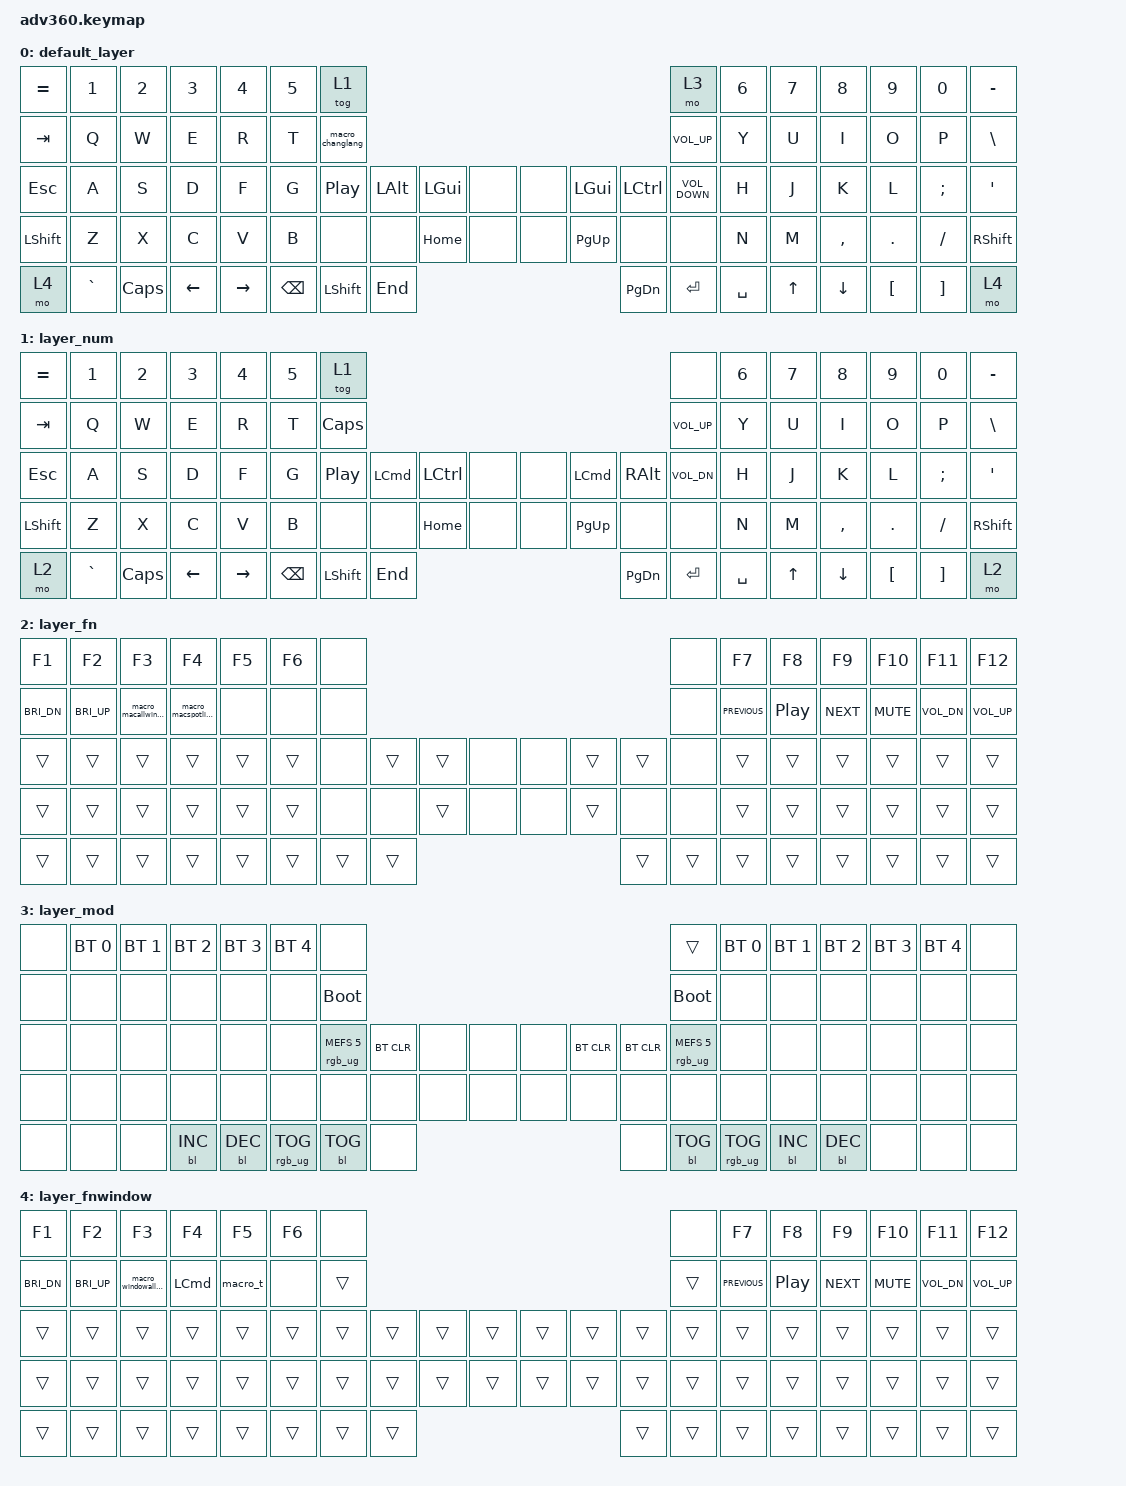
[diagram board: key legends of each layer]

/*
 * Copyright (c) 2020 The ZMK Contributors
 *
 * SPDX-License-Identifier: MIT
 */


/* THIS FILE WAS GENERATED!
 *
 * This file was generated automatically. You may or may not want to
 * edit it directly.
 */

#include <behaviors.dtsi>
#include <dt-bindings/zmk/keys.h>
#include <dt-bindings/zmk/bt.h>
#include <dt-bindings/zmk/rgb.h>
#include <dt-bindings/zmk/backlight.h>

/ {
  behaviors {
    #include "macros.dtsi"
    #include "version.dtsi"

    hm: homerow_mods {
        compatible = "zmk,behavior-hold-tap";
        label = "HOMEROW_MODS";
        #binding-cells = <2>;
        tapping-term-ms = <200>;
        quick_tap_ms = <175>;
        flavor = "tap-preferred";
        bindings = <&kp>, <&kp>;
    };
  };

    keymap {
        compatible = "zmk,keymap";


        default_layer {
            bindings = <
 &kp EQUAL     &kp N1        &kp N2    &kp N3     &kp N4  &kp N5                      &tog 1                                                                                         &mo 3  &kp N6  &kp N7     &kp N8    &kp N9    &kp N0  &kp MINUS
   &kp TAB      &kp Q         &kp W     &kp E      &kp R   &kp T            &macro_changlang                                                                                  &kp C_VOL_UP   &kp Y   &kp U      &kp I     &kp O     &kp P   &kp BSLH
   &kp ESC      &kp A         &kp S     &kp D      &kp F   &kp G            &kp C_PLAY_PAUSE    &kp LEFT_ALT  &kp LEFT_GUI   &none   &none   &kp LGUI  &kp LEFT_CONTROL  &kp C_VOLUME_DOWN   &kp H   &kp J      &kp K     &kp L  &kp SEMI    &kp SQT
 &kp LSHFT      &kp Z         &kp X     &kp C      &kp V   &kp B                       &none           &none      &kp HOME   &none   &none  &kp PG_UP             &none              &none   &kp N   &kp M  &kp COMMA   &kp DOT  &kp FSLH  &kp RSHFT
     &mo 4  &kp GRAVE  &kp CAPSLOCK  &kp LEFT  &kp RIGHT                            &kp BSPC  &kp LEFT_SHIFT       &kp END                  &kp PG_DN         &kp ENTER          &kp SPACE          &kp UP   &kp DOWN  &kp LBKT  &kp RBKT      &mo 4
            >;
        };

        layer_num {
            bindings = <
 &kp EQUAL     &kp N1    &kp N2    &kp N3     &kp N4  &kp N5                      &tog 1                                                                                              &none  &kp N6  &kp N7     &kp N8    &kp N9    &kp N0  &kp MINUS
   &kp TAB      &kp Q     &kp W     &kp E      &kp R   &kp T                    &kp CAPS                                                                                       &kp C_VOL_UP   &kp Y   &kp U      &kp I     &kp O     &kp P   &kp BSLH
   &kp ESC      &kp A     &kp S     &kp D      &kp F   &kp G            &kp C_PLAY_PAUSE  &kp LEFT_COMMAND  &kp LEFT_CONTROL   &none   &none  &kp LEFT_COMMAND  &kp RIGHT_ALT  &kp C_VOL_DN   &kp H   &kp J      &kp K     &kp L  &kp SEMI    &kp SQT
 &kp LSHFT      &kp Z     &kp X     &kp C      &kp V   &kp B                       &none             &none          &kp HOME   &none   &none         &kp PG_UP          &none         &none   &kp N   &kp M  &kp COMMA   &kp DOT  &kp FSLH  &kp RSHFT
     &mo 2  &kp GRAVE  &kp CAPS  &kp LEFT  &kp RIGHT                            &kp BSPC    &kp LEFT_SHIFT           &kp END                         &kp PG_DN      &kp ENTER     &kp SPACE          &kp UP   &kp DOWN  &kp LBKT  &kp RBKT      &mo 2
            >;
        };

        layer_fn {
            bindings = <
       &kp F1        &kp F2               &kp F3               &kp F4  &kp F5  &kp F6             &none                                                   &none          &kp F7            &kp F8      &kp F9     &kp F10       &kp F11       &kp F12
 &kp C_BRI_DN  &kp C_BRI_UP  &macro_macallwindow  &macro_macspotlight   &none   &none             &none                                                   &none  &kp C_PREVIOUS  &kp C_PLAY_PAUSE  &kp C_NEXT  &kp C_MUTE  &kp C_VOL_DN  &kp C_VOL_UP
       &trans        &trans               &trans               &trans  &trans  &trans             &none  &trans  &trans   &none   &none  &trans  &trans   &none          &trans            &trans      &trans      &trans        &trans        &trans
       &trans        &trans               &trans               &trans  &trans  &trans             &none   &none  &trans   &none   &none  &trans   &none   &none          &trans            &trans      &trans      &trans        &trans        &trans
       &trans        &trans               &trans               &trans  &trans                    &trans  &trans  &trans                  &trans  &trans  &trans                            &trans      &trans      &trans        &trans        &trans
            >;
        };

        layer_mod {
            bindings = <
  &none  &bt BT_SEL 0  &bt BT_SEL 1  &bt BT_SEL 2  &bt BT_SEL 3  &bt BT_SEL 4                             &none                                                                              &trans  &bt BT_SEL 0  &bt BT_SEL 1  &bt BT_SEL 2  &bt BT_SEL 3  &bt BT_SEL 4   &none
  &none         &none         &none         &none         &none         &none                       &bootloader                                                                         &bootloader         &none         &none         &none         &none         &none   &none
  &none         &none         &none         &none         &none         &none            &rgb_ug RGB_MEFS_CMD 5  &bt BT_CLR   &none   &none   &none  &bt BT_CLR  &bt BT_CLR  &rgb_ug RGB_MEFS_CMD 5         &none         &none         &none         &none         &none   &none
  &none         &none         &none         &none         &none         &none                             &none       &none   &none   &none   &none       &none       &none                   &none         &none         &none         &none         &none         &none   &none
  &none         &none         &none    &bl BL_INC    &bl BL_DEC                                 &rgb_ug RGB_TOG  &bl BL_TOG   &none                       &none  &bl BL_TOG         &rgb_ug RGB_TOG                  &bl BL_INC    &bl BL_DEC         &none         &none   &none
            >;
        };

        layer_fnwindow {
            bindings = <
       &kp F1        &kp F2                &kp F3            &kp F4    &kp F5  &kp F6             &none                                                   &none          &kp F7    &kp F8      &kp F9     &kp F10       &kp F11       &kp F12
 &kp C_BRI_DN  &kp C_BRI_UP  &macro_windowalldesk  &kp LEFT_COMMAND  &macro_t   &none            &trans                                                  &trans  &kp C_PREVIOUS  &kp C_PP  &kp C_NEXT  &kp C_MUTE  &kp C_VOL_DN  &kp C_VOL_UP
       &trans        &trans                &trans            &trans    &trans  &trans            &trans  &trans  &trans  &trans  &trans  &trans  &trans  &trans          &trans    &trans      &trans      &trans        &trans        &trans
       &trans        &trans                &trans            &trans    &trans  &trans            &trans  &trans  &trans  &trans  &trans  &trans  &trans  &trans          &trans    &trans      &trans      &trans        &trans        &trans
       &trans        &trans                &trans            &trans    &trans                    &trans  &trans  &trans                  &trans  &trans  &trans                    &trans      &trans      &trans        &trans        &trans
            >;
        };

    };
};
